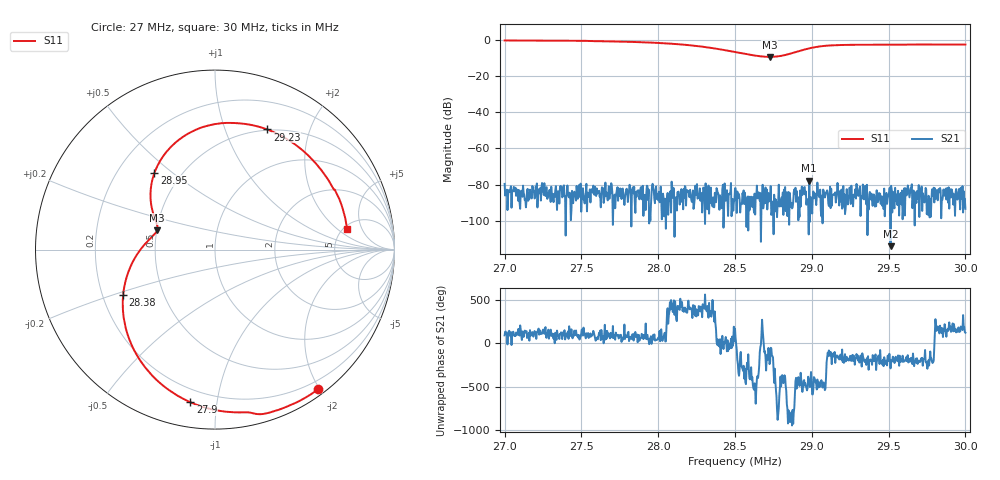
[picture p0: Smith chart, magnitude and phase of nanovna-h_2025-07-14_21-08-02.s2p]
! NanoVNA-App by OneOfEleven et al v1.1.209 (+OD18)
! Date: 2025-07-14 21:08:03
! Start: 27MHz Stop: 30MHz Points: 801
! S-Parameter data: F S11 S21 S12 S22
# Hz S RI R 50
!  Frequency  S11_Real  S11_Imag  S21_Real  S21_Imag  S12_Real  S12_Imag  S22_Real  S22_Imag
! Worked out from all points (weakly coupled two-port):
!   801 points, 27 MHz to 30 MHz, reference 50 ohm
!   highest |S21| = -77.91 dB at 28.98 MHz (marker M1); lowest = -114.1 dB at 29.51 MHz (marker M2)
!   lowest |S11| = -9.4 dB at 28.73 MHz (marker M3), VSWR 2.03, Z = 25.1 + j6.1 ohm
!   |S11| at or under -10 dB: nowhere
!   S12 and S22 are empty: the file has one direction only
!   S11 on the Smith chart (normalised r, x): 27 MHz: 0.08, -1.97; 27.9 MHz: 0.13, -0.84; 28.38 MHz: 0.29, -0.22; 28.95 MHz: 0.36, +0.43; 29.23 MHz: 0.49, +1.41; 30 MHz: 5.38, +2.76
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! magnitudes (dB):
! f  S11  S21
! 27 MHz  -0.3  -79.6
! 27.02 MHz  -0.3  -94.1
! 27.5 MHz  -0.4  -87.9
! 27.9 MHz  -1.3  -97.3
! 28 MHz  -1.7  -88.8
! 28.08 MHz  -2.0  -84.2
! 28.2 MHz  -2.9  -87.0
! 28.38 MHz  -4.9  -82.0
! 28.5 MHz  -6.7  -82.1
! 28.64 MHz  -8.8  -86.5
! 28.73 MHz  -9.4  -88.4
! 28.77 MHz  -9.2  -91.0
! 28.82 MHz  -8.6  -96.8
! 28.95 MHz  -5.3  -81.4
! 28.98 MHz  -4.6  -77.9
! 29 MHz  -4.4  -90.4
! 29 MHz  -4.3  -96.1
! 29.1 MHz  -3.2  -84.4
! 29.23 MHz  -2.7  -88.7
! 29.5 MHz  -2.6  -86.4
! 29.51 MHz  -2.6  -114.1
! 30 MHz  -2.6  -93.4
